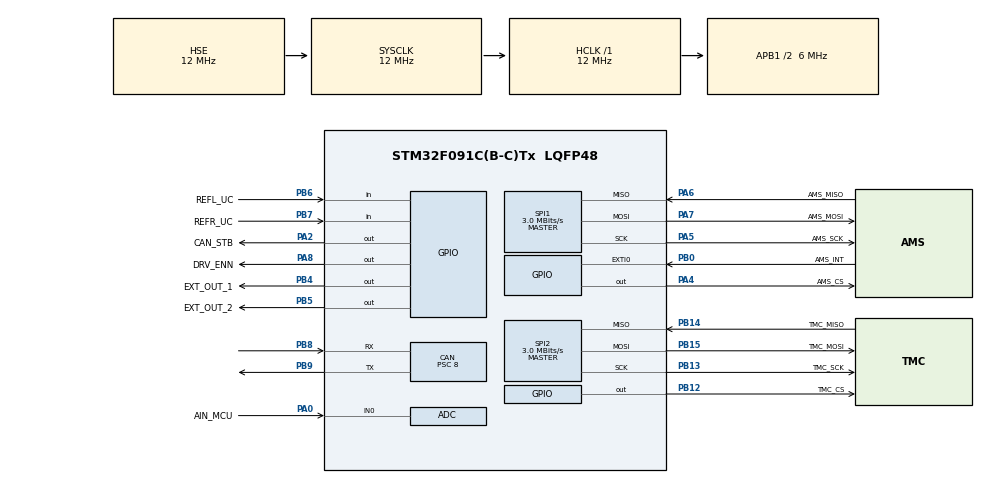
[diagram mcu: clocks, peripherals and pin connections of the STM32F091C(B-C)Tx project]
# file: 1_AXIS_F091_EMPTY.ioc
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CAN.BS1=CAN_BS1_2TQ
CAN.CalculateBaudRate=187500
CAN.CalculateTimeBit=5333
CAN.CalculateTimeQuantum=1333.3333333333333
CAN.Mode=CAN_MODE_NORMAL
CAN.Prescaler=8
Mcu.Family=STM32F0
Mcu.Name=STM32F091C(B-C)Tx
Mcu.Package=LQFP48
NVIC.CEC_CAN_IRQn=true\:0\:0\:false\:false\:true\:true\:true\:true
NVIC.EXTI0_1_IRQn=true\:0\:0\:false\:false\:true\:true\:true\:true
PA0.GPIO_Label=AIN_MCU
PA0.Mode=IN0
PA0.Signal=ADC_IN0
PA13.GPIO_Label=SWDIO
PA13.Mode=Serial_Wire
PA13.Signal=SYS_SWDIO
PA14.GPIO_Label=SWCLK
PA14.Mode=Serial_Wire
PA14.Signal=SYS_SWCLK
PA2.GPIO_Label=CAN_STB
PA2.Signal=GPIO_Output
PA4.GPIO_Label=AMS_CS
PA4.Signal=GPIO_Output
PA5.GPIO_Label=AMS_SCK
PA5.Mode=Full_Duplex_Master
PA5.Signal=SPI1_SCK
PA6.GPIO_Label=AMS_MISO
PA6.Mode=Full_Duplex_Master
PA6.Signal=SPI1_MISO
PA7.GPIO_Label=AMS_MOSI
PA7.Mode=Full_Duplex_Master
PA7.Signal=SPI1_MOSI
PA8.GPIO_Label=DRV_ENN
PA8.Signal=GPIO_Output
PB0.GPIO_Label=AMS_INT
PB0.GPIO_ModeDefaultEXTI=GPIO_MODE_IT_RISING
PB0.Signal=GPXTI0
PB12.GPIO_Label=TMC_CS
PB12.PinState=GPIO_PIN_SET
PB12.Signal=GPIO_Output
PB13.GPIO_Label=TMC_SCK
PB13.Mode=Full_Duplex_Master
PB13.Signal=SPI2_SCK
PB14.GPIO_Label=TMC_MISO
PB14.Mode=Full_Duplex_Master
PB14.Signal=SPI2_MISO
PB15.GPIO_Label=TMC_MOSI
PB15.Mode=Full_Duplex_Master
PB15.Signal=SPI2_MOSI
PB4.GPIO_Label=EXT_OUT_1
PB4.GPIO_PuPd=GPIO_PULLDOWN
PB4.Signal=GPIO_Output
PB5.GPIO_Label=EXT_OUT_2
PB5.GPIO_PuPd=GPIO_PULLDOWN
PB5.Signal=GPIO_Output
PB6.GPIO_Label=REFL_UC
PB6.GPIO_Mode=GPIO_MODE_INPUT
PB6.GPIO_PuPd=GPIO_PULLDOWN
PB6.Signal=GPIO_Input
PB7.GPIO_Label=REFR_UC
PB7.GPIO_PuPd=GPIO_PULLDOWN
PB7.Signal=GPIO_Input
PB8.Mode=CAN_Activate
PB8.Signal=CAN_RX
PB9.Mode=CAN_Activate
PB9.Signal=CAN_TX
PF0-OSC_IN.Mode=HSE-External-Oscillator
PF0-OSC_IN.Signal=RCC_OSC_IN
PF1-OSC_OUT.Mode=HSE-External-Oscillator
PF1-OSC_OUT.Signal=RCC_OSC_OUT
ProjectManager.HeapSize=0x200
ProjectManager.StackSize=0x400
ProjectManager.TargetToolchain=STM32CubeIDE
RCC.AHBFreq_Value=12000000
RCC.APB1CLKDivider=RCC_HCLK_DIV2
RCC.APB1Freq_Value=6000000
RCC.APB1TimFreq_Value=12000000
RCC.HCLKFreq_Value=12000000
RCC.HSE_VALUE=12000000
RCC.PLLSourceVirtual=RCC_PLLSOURCE_HSE
RCC.SYSCLKFreq_VALUE=12000000
RCC.SYSCLKSource=RCC_SYSCLKSOURCE_HSE
SPI1.BaudRatePrescaler=SPI_BAUDRATEPRESCALER_2
SPI1.CLKPhase=SPI_PHASE_2EDGE
SPI1.CalculateBaudRate=3.0 MBits/s
SPI1.DataSize=SPI_DATASIZE_8BIT
SPI1.Direction=SPI_DIRECTION_2LINES
SPI1.Mode=SPI_MODE_MASTER
SPI1.VirtualType=VM_MASTER
SPI2.CalculateBaudRate=3.0 MBits/s
SPI2.DataSize=SPI_DATASIZE_8BIT
SPI2.Direction=SPI_DIRECTION_2LINES
SPI2.Mode=SPI_MODE_MASTER
SPI2.VirtualType=VM_MASTER
board=custom

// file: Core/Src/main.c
/* USER CODE BEGIN Header */
/**
  ******************************************************************************
  * @file           : main.c
  * @brief          : Main program body
  ******************************************************************************
  * @attention
  *
  * Copyright (c) 2022 STMicroelectronics.
  * All rights reserved.
  *
  * This software is licensed under terms that can be found in the LICENSE file
  * in the root directory of this software component.
  * If no LICENSE file comes with this software, it is provided AS-IS.
  *
  ******************************************************************************
  */
/* USER CODE END Header */
#include "main.h"

ADC_HandleTypeDef hadc;

CAN_HandleTypeDef hcan;

SPI_HandleTypeDef hspi1;
SPI_HandleTypeDef hspi2;

void SystemClock_Config(void);
static void MX_GPIO_Init(void);
static void MX_ADC_Init(void);
static void MX_CAN_Init(void);
static void MX_SPI1_Init(void);
static void MX_SPI2_Init(void);
/* USER CODE BEGIN PFP */
uint32_t Monitor_Stepper(void);

/* USER CODE END PFP */

/* USER CODE BEGIN 0 */

/* RAMP config */
RampConfig Ramp1;
RampConfig StallSettings1;
RampConfig HomeRamp1;

/* Current config */
CurrentConfig CurrentSetting1;
CurrentConfig CurrentSetting2;

/* User Settings */
int AMS_ENB = 1; // 0 = disable Hall sensor , 1 = enable Hall sensor
int ENC_ENB = 0; // 0 = disable Encoder , 1 = enable Encoder
int ENC_HOME = 1; // 0 = don't reset ENC counter at Z-event, 1 = reset at Z-event (for homing)
int STG_ENB = 0; // 0 = disable Stallguard, 1 = enable Stallguard

int32_t AMS_Resolution =  4096; // Hall sensor resolution
int32_t ENC_Resolution =  8000; // Encoder resolution
int d = 0;
uint32_t CS_ACTUAL[1000];
uint8_t SPICheckValuetemp = 0;

/* CAN VARIABLES */
CAN_TxHeaderTypeDef CANTxHeader;
CAN_RxHeaderTypeDef CANRxHeader;

uint8_t CANTxData[8];	//CANTX data array
uint8_t CANRxData[8];	//CANRX data array
uint32_t TxMailbox[3];	//CAN Mailbox
int Datacheck;			//value for checking incoming CAN Data
int CANCHECK; // check for CAN size
uint32_t CS_Start = 0;
uint32_t CS_End = 0;

int32_t AMS_Start_Pos = 0;
uint32_t TMC_Start_Pos = 0;
int32_t ENC_Start_Pos = 0;
uint32_t Pos_To_Move = 0;
int32_t ENC_Prev_Pos = 0;
int ENC_homed = 0;

/*  CAN RECEIVE INTERRUPT */
void HAL_CAN_RxFifo0MsgPendingCallback(CAN_HandleTypeDef *hcan)
{
	HAL_CAN_GetRxMessage(hcan, CAN_RX_FIFO0, &CANRxHeader, CANRxData);

	if (CANRxHeader.StdId == 0x000 && CANRxData[0] == 0x01) //CANID 001
	{
		Datacheck = 1;
	}

	if (CANRxHeader.StdId == 0x000 && CANRxData[7] == 0x08)
	{
		CANCHECK = 1;
	}

}

/* AMS INTERRUPT */
void HAL_GPIO_EXTI_Callback(uint16_t GPIO_Pin)
{
	if(GPIO_Pin == AMS_INT_Pin && AMS_Ready == 0)
	{
		AMS_Ready = 1;
	}
}

/* USER CODE END 0 */

int main(void)
{

  /* MCU Configuration--------------------------------------------------------*/

  /* Reset of all peripherals, Initializes the Flash interface and the Systick. */
  HAL_Init();

  /* Configure the system clock */
  SystemClock_Config();

  /* Initialize all configured peripherals */
  MX_GPIO_Init();
  MX_ADC_Init();
  MX_CAN_Init();
  MX_SPI1_Init();
  MX_SPI2_Init();

  /* Infinite loop */
  while (1)
  {

  }
}

void SystemClock_Config(void)
{
  RCC_OscInitTypeDef RCC_OscInitStruct = {0};
  RCC_ClkInitTypeDef RCC_ClkInitStruct = {0};

  /** Initializes the RCC Oscillators according to the specified parameters
  * in the RCC_OscInitTypeDef structure.
  */
  RCC_OscInitStruct.OscillatorType = RCC_OSCILLATORTYPE_HSI14|RCC_OSCILLATORTYPE_HSE;
  RCC_OscInitStruct.HSEState = RCC_HSE_ON;
  RCC_OscInitStruct.HSI14State = RCC_HSI14_ON;
  RCC_OscInitStruct.HSI14CalibrationValue = 16;
  RCC_OscInitStruct.PLL.PLLState = RCC_PLL_NONE;
  if (HAL_RCC_OscConfig(&RCC_OscInitStruct) != HAL_OK)
  {
    Error_Handler();
  }

  /** Initializes the CPU, AHB and APB buses clocks
  */
  RCC_ClkInitStruct.ClockType = RCC_CLOCKTYPE_HCLK|RCC_CLOCKTYPE_SYSCLK
                              |RCC_CLOCKTYPE_PCLK1;
  RCC_ClkInitStruct.SYSCLKSource = RCC_SYSCLKSOURCE_HSE;
  RCC_ClkInitStruct.AHBCLKDivider = RCC_SYSCLK_DIV1;
  RCC_ClkInitStruct.APB1CLKDivider = RCC_HCLK_DIV2;

  if (HAL_RCC_ClockConfig(&RCC_ClkInitStruct, FLASH_LATENCY_0) != HAL_OK)
  {
    Error_Handler();
  }
}

static void MX_ADC_Init(void)
{

  ADC_ChannelConfTypeDef sConfig = {0};

  /** Configure the global features of the ADC (Clock, Resolution, Data Alignment and number of conversion)
  */
  hadc.Instance = ADC1;
  hadc.Init.ClockPrescaler = ADC_CLOCK_ASYNC_DIV1;
  hadc.Init.Resolution = ADC_RESOLUTION_12B;
  hadc.Init.DataAlign = ADC_DATAALIGN_RIGHT;
  hadc.Init.ScanConvMode = ADC_SCAN_DIRECTION_FORWARD;
  hadc.Init.EOCSelection = ADC_EOC_SINGLE_CONV;
  hadc.Init.LowPowerAutoWait = DISABLE;
  hadc.Init.LowPowerAutoPowerOff = DISABLE;
  hadc.Init.ContinuousConvMode = DISABLE;
  hadc.Init.DiscontinuousConvMode = DISABLE;
  hadc.Init.ExternalTrigConv = ADC_SOFTWARE_START;
  hadc.Init.ExternalTrigConvEdge = ADC_EXTERNALTRIGCONVEDGE_NONE;
  hadc.Init.DMAContinuousRequests = DISABLE;
  hadc.Init.Overrun = ADC_OVR_DATA_PRESERVED;
  if (HAL_ADC_Init(&hadc) != HAL_OK)
  {
    Error_Handler();
  }

  /** Configure for the selected ADC regular channel to be converted.
  */
  sConfig.Channel = ADC_CHANNEL_0;
  sConfig.Rank = ADC_RANK_CHANNEL_NUMBER;
  sConfig.SamplingTime = ADC_SAMPLETIME_1CYCLE_5;
  if (HAL_ADC_ConfigChannel(&hadc, &sConfig) != HAL_OK)
  {
    Error_Handler();
  }

}

static void MX_CAN_Init(void)
{

  /* USER CODE BEGIN CAN_Init 0 */
  HAL_GPIO_WritePin(GPIOA,CAN_STB_Pin,0); // Set STB pin LOW for normal operation
  /* USER CODE END CAN_Init 0 */

  hcan.Instance = CAN;
  hcan.Init.Prescaler = 8;
  hcan.Init.Mode = CAN_MODE_NORMAL;
  hcan.Init.SyncJumpWidth = CAN_SJW_1TQ;
  hcan.Init.TimeSeg1 = CAN_BS1_2TQ;
  hcan.Init.TimeSeg2 = CAN_BS2_1TQ;
  hcan.Init.TimeTriggeredMode = DISABLE;
  hcan.Init.AutoBusOff = DISABLE;
  hcan.Init.AutoWakeUp = DISABLE;
  hcan.Init.AutoRetransmission = DISABLE;
  hcan.Init.ReceiveFifoLocked = DISABLE;
  hcan.Init.TransmitFifoPriority = DISABLE;
  if (HAL_CAN_Init(&hcan) != HAL_OK)
  {
    Error_Handler();
  }
  /* USER CODE BEGIN CAN_Init 2 */

  /* CAN filter */
  CAN_FilterTypeDef  sFilterConfig;

  sFilterConfig.FilterActivation = ENABLE;
  sFilterConfig.FilterBank = 10;
  sFilterConfig.FilterFIFOAssignment = CAN_RX_FIFO0;
  sFilterConfig.FilterIdHigh = 0x0000;
  sFilterConfig.FilterIdLow = 0x0000;
  sFilterConfig.FilterMaskIdHigh = 0x0000;
  sFilterConfig.FilterMaskIdLow = 0x0000;
  sFilterConfig.FilterMode = CAN_FILTERMODE_IDMASK;
  sFilterConfig.FilterScale = CAN_FILTERSCALE_32BIT;
  sFilterConfig.SlaveStartFilterBank = 0;

  HAL_CAN_ConfigFilter(&hcan, &sFilterConfig);

  HAL_CAN_Start(&hcan);
  HAL_CAN_ActivateNotification(&hcan, CAN_IT_RX_FIFO0_MSG_PENDING);
  /* USER CODE END CAN_Init 2 */

}

static void MX_SPI1_Init(void)
{

  /* SPI1 parameter configuration*/
  hspi1.Instance = SPI1;
  hspi1.Init.Mode = SPI_MODE_MASTER;
  hspi1.Init.Direction = SPI_DIRECTION_2LINES;
  hspi1.Init.DataSize = SPI_DATASIZE_8BIT;
  hspi1.Init.CLKPolarity = SPI_POLARITY_LOW;
  hspi1.Init.CLKPhase = SPI_PHASE_2EDGE;
  hspi1.Init.NSS = SPI_NSS_SOFT;
  hspi1.Init.BaudRatePrescaler = SPI_BAUDRATEPRESCALER_2;
  hspi1.Init.FirstBit = SPI_FIRSTBIT_MSB;
  hspi1.Init.TIMode = SPI_TIMODE_DISABLE;
  hspi1.Init.CRCCalculation = SPI_CRCCALCULATION_DISABLE;
  hspi1.Init.CRCPolynomial = 7;
  hspi1.Init.CRCLength = SPI_CRC_LENGTH_DATASIZE;
  hspi1.Init.NSSPMode = SPI_NSS_PULSE_DISABLE;
  if (HAL_SPI_Init(&hspi1) != HAL_OK)
  {
    Error_Handler();
  }

}

static void MX_SPI2_Init(void)
{

  /* SPI2 parameter configuration*/
  hspi2.Instance = SPI2;
  hspi2.Init.Mode = SPI_MODE_MASTER;
  hspi2.Init.Direction = SPI_DIRECTION_2LINES;
  hspi2.Init.DataSize = SPI_DATASIZE_8BIT;
  hspi2.Init.CLKPolarity = SPI_POLARITY_LOW;
  hspi2.Init.CLKPhase = SPI_PHASE_1EDGE;
  hspi2.Init.NSS = SPI_NSS_SOFT;
  hspi2.Init.BaudRatePrescaler = SPI_BAUDRATEPRESCALER_2;
  hspi2.Init.FirstBit = SPI_FIRSTBIT_MSB;
  hspi2.Init.TIMode = SPI_TIMODE_DISABLE;
  hspi2.Init.CRCCalculation = SPI_CRCCALCULATION_DISABLE;
  hspi2.Init.CRCPolynomial = 7;
  hspi2.Init.CRCLength = SPI_CRC_LENGTH_DATASIZE;
  hspi2.Init.NSSPMode = SPI_NSS_PULSE_ENABLE;
  if (HAL_SPI_Init(&hspi2) != HAL_OK)
  {
    Error_Handler();
  }

}

static void MX_GPIO_Init(void)
{
  GPIO_InitTypeDef GPIO_InitStruct = {0};

  /* GPIO Ports Clock Enable */
  __HAL_RCC_GPIOF_CLK_ENABLE();
  __HAL_RCC_GPIOA_CLK_ENABLE();
  __HAL_RCC_GPIOB_CLK_ENABLE();

  /*Configure GPIO pin Output Level */
  HAL_GPIO_WritePin(GPIOA, CAN_STB_Pin|AMS_CS_Pin|DRV_ENN_Pin, GPIO_PIN_RESET);

  /*Configure GPIO pin Output Level */
  HAL_GPIO_WritePin(TMC_CS_GPIO_Port, TMC_CS_Pin, GPIO_PIN_SET);

  /*Configure GPIO pin Output Level */
  HAL_GPIO_WritePin(GPIOB, EXT_OUT_1_Pin|EXT_OUT_2_Pin, GPIO_PIN_RESET);

  /*Configure GPIO pins : CAN_STB_Pin AMS_CS_Pin DRV_ENN_Pin */
  GPIO_InitStruct.Pin = CAN_STB_Pin|AMS_CS_Pin|DRV_ENN_Pin;
  GPIO_InitStruct.Mode = GPIO_MODE_OUTPUT_PP;
  GPIO_InitStruct.Pull = GPIO_NOPULL;
  GPIO_InitStruct.Speed = GPIO_SPEED_FREQ_LOW;
  HAL_GPIO_Init(GPIOA, &GPIO_InitStruct);

  /*Configure GPIO pin : AMS_INT_Pin */
  GPIO_InitStruct.Pin = AMS_INT_Pin;
  GPIO_InitStruct.Mode = GPIO_MODE_IT_RISING;
  GPIO_InitStruct.Pull = GPIO_NOPULL;
  HAL_GPIO_Init(AMS_INT_GPIO_Port, &GPIO_InitStruct);

  /*Configure GPIO pin : TMC_CS_Pin */
  GPIO_InitStruct.Pin = TMC_CS_Pin;
  GPIO_InitStruct.Mode = GPIO_MODE_OUTPUT_PP;
  GPIO_InitStruct.Pull = GPIO_NOPULL;
  GPIO_InitStruct.Speed = GPIO_SPEED_FREQ_LOW;
  HAL_GPIO_Init(TMC_CS_GPIO_Port, &GPIO_InitStruct);

  /*Configure GPIO pins : EXT_OUT_1_Pin EXT_OUT_2_Pin */
  GPIO_InitStruct.Pin = EXT_OUT_1_Pin|EXT_OUT_2_Pin;
  GPIO_InitStruct.Mode = GPIO_MODE_OUTPUT_PP;
  GPIO_InitStruct.Pull = GPIO_PULLDOWN;
  GPIO_InitStruct.Speed = GPIO_SPEED_FREQ_LOW;
  HAL_GPIO_Init(GPIOB, &GPIO_InitStruct);

  /*Configure GPIO pins : REFL_UC_Pin REFR_UC_Pin */
  GPIO_InitStruct.Pin = REFL_UC_Pin|REFR_UC_Pin;
  GPIO_InitStruct.Mode = GPIO_MODE_INPUT;
  GPIO_InitStruct.Pull = GPIO_PULLDOWN;
  HAL_GPIO_Init(GPIOB, &GPIO_InitStruct);

  /* EXTI interrupt init*/
  HAL_NVIC_SetPriority(EXTI0_1_IRQn, 0, 0);
  HAL_NVIC_EnableIRQ(EXTI0_1_IRQn);

/* USER CODE BEGIN MX_GPIO_Init_2 */
    HAL_GPIO_WritePin(GPIOB, TMC_CS_Pin, 1); // make CS high
/* USER CODE END MX_GPIO_Init_2 */
}

/* USER CODE BEGIN 4 */

uint32_t Monitor_Stepper(void)
{
	uint32_t DRV_STATUS_main;

	DRV_STATUS_main = TMC5160_SPIWrite(0x6F, 0x00000000, 0, &SPICheckValuetemp); //Read (DRV_STATUS)

	for(int y = 32; y > 21; y--) // clear other data but leave SG_RESULT
	{
		DRV_STATUS_main &= ~(1 << y);
	}

	DRV_STATUS_main = (DRV_STATUS_main >> 16) & 0x1F; // Isolate bits 16 to 20 (CS_ACTUAL)
	CS_ACTUAL[d] = DRV_STATUS_main; // see SG_RESULTS in explorer for tuning stallguard (SG_RESULT 0 = stall detected)

	return DRV_STATUS_main;

	d++;

	if(d > 800) // prevent logging overflow
	{
		d = 0;
	}

	return DRV_STATUS_main;
}
/* USER CODE END 4 */

void Error_Handler(void)
{
  /* USER CODE BEGIN Error_Handler_Debug */
	 TMC5160_Drive_Enable(0); // disable motor current
  /* User can add his own implementation to report the HAL error return state */
  __disable_irq();
  while (1)
  {
  }
  /* USER CODE END Error_Handler_Debug */
}
